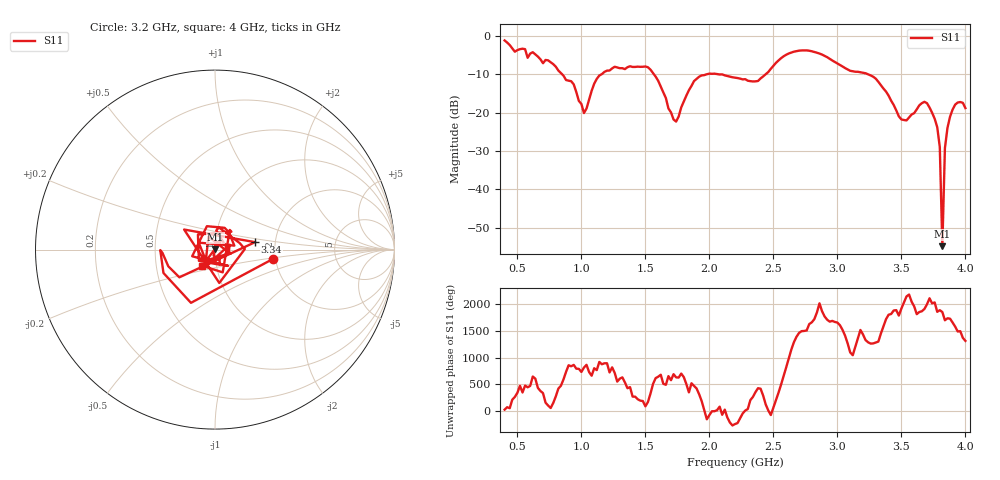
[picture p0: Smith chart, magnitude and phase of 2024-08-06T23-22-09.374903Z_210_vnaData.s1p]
!Created with skrf (http://scikit-rf.org).
# Hz S RI R 50.0
!freq ReS11 ImS11
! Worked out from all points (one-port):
!   181 points, 400 MHz to 4 GHz, reference 50 ohm
!   lowest |S11| = -54.8 dB at 3.82 GHz (marker M1), VSWR 1.00, Z = 50.1 + j0.141 ohm
!   |S11| at or under -10 dB: 1.566 GHz to 1.982 GHz (415.6 MHz wide, 23.4 % of centre); 2.065 GHz to 2.44 GHz (375.7 MHz wide, 16.7 % of centre); 3.238 GHz to end of sweep (the widest 3 of 4)
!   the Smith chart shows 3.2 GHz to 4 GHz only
!   S11 on the Smith chart (normalised r, x): 3.2 GHz: 1.95, -0.22; 3.34 GHz: 1.57, +0.14; 4 GHz: 0.86, -0.16
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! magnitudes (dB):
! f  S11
! 400 MHz  -1.2
! 860 MHz  -10.4
! 940 MHz  -12.6
! 1.02 GHz  -20.1
! 1.14 GHz  -10.3
! 1.3 GHz  -8.4
! 1.52 GHz  -8.2
! 1.6 GHz  -11.7
! 1.72 GHz  -21.8
! 1.76 GHz  -21.0
! 1.92 GHz  -10.6
! 2.2 GHz  -10.9
! 2.38 GHz  -11.8
! 2.66 GHz  -4.1
! 2.86 GHz  -4.6
! 3.1 GHz  -9.1
! 3.2 GHz  -9.6
! 3.34 GHz  -12.9
! 3.5 GHz  -21.8
! 3.56 GHz  -21.3
! 3.68 GHz  -17.2
! 3.78 GHz  -23.8
! 3.8 GHz  -29.0
! 3.82 GHz  -54.8
! 3.84 GHz  -29.3
! 3.86 GHz  -24.0
! 3.92 GHz  -17.9
! 4 GHz  -18.8
